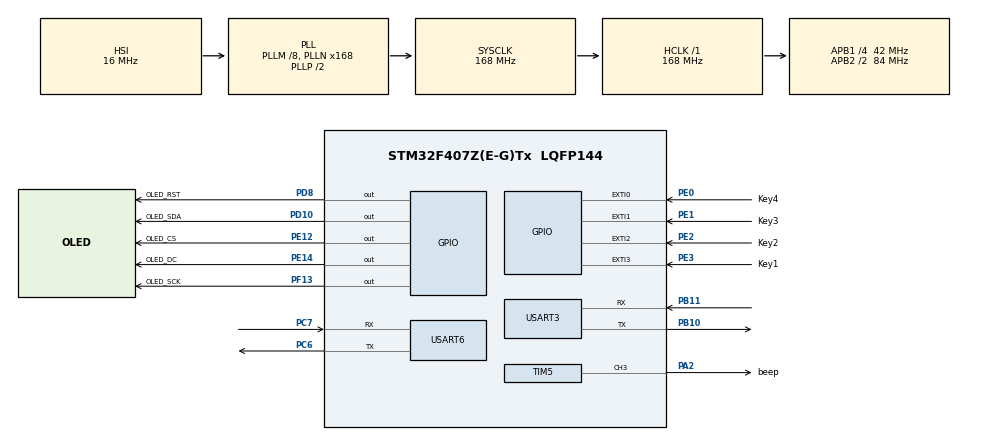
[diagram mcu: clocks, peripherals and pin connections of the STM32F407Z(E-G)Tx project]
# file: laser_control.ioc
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Mcu.Family=STM32F4
Mcu.Name=STM32F407Z(E-G)Tx
Mcu.Package=LQFP144
NVIC.EXTI0_IRQn=true\:5\:0\:true\:false\:true\:true\:true\:true
NVIC.EXTI1_IRQn=true\:5\:0\:true\:false\:true\:true\:true\:true
NVIC.EXTI2_IRQn=true\:5\:0\:true\:false\:true\:true\:true\:true
NVIC.EXTI3_IRQn=true\:5\:0\:true\:false\:true\:true\:true\:true
NVIC.PriorityGroup=NVIC_PRIORITYGROUP_4
NVIC.RCC_IRQn=true\:0\:0\:false\:false\:true\:true\:false\:true
NVIC.TIM1_UP_TIM10_IRQn=true\:0\:0\:true\:false\:true\:true\:true\:true
NVIC.USART3_IRQn=true\:0\:0\:false\:false\:true\:true\:true\:true
NVIC.USART6_IRQn=true\:0\:0\:true\:false\:true\:true\:true\:true
PA0-WKUP.Mode=SYS_WakeUp0
PA0-WKUP.Signal=SYS_WKUP
PA13.Mode=Serial_Wire
PA13.Signal=SYS_JTMS-SWDIO
PA14.Mode=Serial_Wire
PA14.Signal=SYS_JTCK-SWCLK
PA2.GPIO_Label=beep
PA2.Signal=S_TIM5_CH3
PB10.Mode=Asynchronous
PB10.Signal=USART3_TX
PB11.Mode=Asynchronous
PB11.Signal=USART3_RX
PC6.Mode=Asynchronous
PC6.Signal=USART6_TX
PC7.Mode=Asynchronous
PC7.Signal=USART6_RX
PD10.GPIO_Label=OLED_SDA
PD10.Signal=GPIO_Output
PD8.GPIO_Label=OLED_RST
PD8.Signal=GPIO_Output
PE0.GPIO_Label=Key4
PE0.Signal=GPXTI0
PE1.GPIO_Label=Key3
PE1.Signal=GPXTI1
PE12.GPIO_Label=OLED_CS
PE12.Signal=GPIO_Output
PE14.GPIO_Label=OLED_DC
PE14.Signal=GPIO_Output
PE2.GPIO_Label=Key2
PE2.Signal=GPXTI2
PE3.GPIO_Label=Key1
PE3.Signal=GPXTI3
PF13.GPIO_Label=OLED_SCK
PF13.Signal=GPIO_Output
PH0-OSC_IN.Mode=HSE-External-Oscillator
PH0-OSC_IN.Signal=RCC_OSC_IN
PH1-OSC_OUT.Mode=HSE-External-Oscillator
PH1-OSC_OUT.Signal=RCC_OSC_OUT
ProjectManager.HeapSize=0x200
ProjectManager.StackSize=0x400
ProjectManager.TargetToolchain=MDK-ARM V5.32
RCC.48MHZClocksFreq_Value=84000000
RCC.AHBFreq_Value=168000000
RCC.APB1CLKDivider=RCC_HCLK_DIV4
RCC.APB1Freq_Value=42000000
RCC.APB1TimFreq_Value=84000000
RCC.APB2CLKDivider=RCC_HCLK_DIV2
RCC.APB2Freq_Value=84000000
RCC.APB2TimFreq_Value=168000000
RCC.CortexFreq_Value=168000000
RCC.HCLKFreq_Value=168000000
RCC.HSE_VALUE=25000000
RCC.HSI_VALUE=16000000
RCC.LSE_VALUE=32768
RCC.PLLM=8
RCC.PLLN=168
RCC.SYSCLKFreq_VALUE=168000000
RCC.SYSCLKSource=RCC_SYSCLKSOURCE_PLLCLK
RCC.VCOOutputFreq_Value=336000000
SH.S_TIM5_CH3.0=TIM5_CH3,PWM Generation3 CH3
TIM1.AutoReloadPreload=TIM_AUTORELOAD_PRELOAD_ENABLE
TIM1.Period=999
TIM1.Prescaler=8399
TIM5.Channel-PWM\ Generation3\ CH3=TIM_CHANNEL_3
TIM5.Period=999
TIM5.Prescaler=83
USART3.VirtualMode=VM_ASYNC
USART6.VirtualMode=VM_ASYNC
VP_RTC_VS_RTC_Activate.Mode=RTC_Enabled
VP_RTC_VS_RTC_Calendar.Mode=RTC_Calendar
VP_TIM1_VS_ClockSourceINT.Mode=Internal
VP_TIM5_VS_ClockSourceINT.Mode=Internal
board=custom

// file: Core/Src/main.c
/* USER CODE BEGIN Header */
/**
  ******************************************************************************
  * @file           : main.c
  * @brief          : Main program body
  ******************************************************************************
  * @attention
  *
  * Copyright (c) 2025 STMicroelectronics.
  * All rights reserved.
  *
  * This software is licensed under terms that can be found in the LICENSE file
  * in the root directory of this software component.
  * If no LICENSE file comes with this software, it is provided AS-IS.
  *
  ******************************************************************************
  */
/* USER CODE END Header */
#include "main.h"
#include "rtc.h"
#include "tim.h"
#include "usart.h"
#include "gpio.h"

/* USER CODE BEGIN Includes */
#include "OLED.h"
#include "servo_protocol.h"
#include "laser_tracker.h"
#include <stdio.h>
#include <stdlib.h>
#include "string.h"
/* USER CODE END Includes */

/* USER CODE BEGIN PTD */
char current_coord[BUF_SIZE]= {"xiangwan stupid donkey"};
int x1, y1, x2, y2, x3, y3, x4, y4, a, b, c, d;
/* USER CODE END PTD */

/* USER CODE BEGIN PM */
void parseCoordinates(const char *str, int *x1, int *y1, int *x2, int *y2,
                      int *x3, int *y3, int *x4, int *y4, int *a, int *b, int *c, int *d) {
    const char *ptr = str;

    // 解析前四个顶点坐标（x1,y1;x2,y2;x3,y3;x4,y4）
    sscanf(ptr, "%d,%d;", x1, y1);
    ptr = strchr(ptr, ';') + 1;

    sscanf(ptr, "%d,%d;", x2, y2);
    ptr = strchr(ptr, ';') + 1;

    sscanf(ptr, "%d,%d;", x3, y3);
    ptr = strchr(ptr, ';') + 1;

    sscanf(ptr, "%d,%d;", x4, y4);
    ptr = strchr(ptr, ';') + 1;

    // 解析激光红点（a,b）和绿点坐标（c,d）
    sscanf(ptr, "%d,%d;", a, b);
    ptr = strchr(ptr, ';') + 1;

    sscanf(ptr, "%d,%d", c, d);
}
/* USER CODE END PM */

/* USER CODE BEGIN PV */
int test1 = 6;
uint32_t last_key_time = 0;
uint32_t beeptime = 0;
int circle1 = 0 ;
int circle2 = 0 ;
int circle3 = 0 ;
//按键控制
void HAL_GPIO_EXTI_Callback(uint16_t GPIO_Pin) {
    if (HAL_GetTick() - last_key_time > 10) { // 200ms防抖
        last_key_time = HAL_GetTick();

        if (GPIO_Pin == Key1_Pin) {
					//回到中心点
            Servo_SetPosition(1, 3050, 500);Servo_SetPosition(2, 3350, 500);
        }
				else if (GPIO_Pin == Key2_Pin) {
            circle2 = 0 ;
        }
				else if (GPIO_Pin == Key3_Pin) {
            circle2 = 1 ;
				}
				else if(GPIO_Pin==Key4_Pin){
					  circle3 = 1 ;
				}

    }
}
/* USER CODE END PV */

void SystemClock_Config(void);
/* USER CODE BEGIN PFP */

void HAL_TIM_PeriodElapsedCallback(TIM_HandleTypeDef *htim) {
  if (htim->Instance == TIM1) {

				// 4. 显示更新
        OLED_Clear();
				OLED_ShowString(4, 10, "dj1:", OLED_6X8);
	      OLED_ShowString(1,32,"Pos:",OLED_6X8);
				OLED_ShowString(30,32,current_coord,OLED_6X8);
			  OLED_ShowNum(30, 10, a, 3 , OLED_6X8);
		    OLED_ShowNum(60, 10, b, 3 , OLED_6X8);

        OLED_ShowString(4, 50, "any:", OLED_6X8);
        OLED_ShowSignedNum(40, 50, c, 4, OLED_6X8);
        OLED_ShowString(72, 50, ",", OLED_6X8);
        OLED_ShowSignedNum(78, 50, d, 4, OLED_6X8);
        OLED_Update();

	}
}

/* USER CODE END PFP */

int main(void)
{

  /* USER CODE BEGIN 1 */
    a = 0;
	  b = 0;
	  c = 0;
	  d = 0;
  /* USER CODE END 1 */

  /* MCU Configuration--------------------------------------------------------*/

  /* Reset of all peripherals, Initializes the Flash interface and the Systick. */
  HAL_Init();

  /* Configure the system clock */
  SystemClock_Config();

  /* Initialize all configured peripherals */
  MX_GPIO_Init();
  MX_USART6_UART_Init();
  MX_USART3_UART_Init();
  MX_TIM1_Init();
  MX_RTC_Init();
  MX_TIM5_Init();
  /* USER CODE BEGIN 2 */
	HAL_TIM_Base_Start_IT(&htim1);
	HAL_TIM_PWM_Start(&htim5,TIM_CHANNEL_3);

	OLED_Init();

	Servo_Init(&huart6);

	// 标记是否为首次初始化
  uint8_t first_init = 1;

    LaserTracker tracker = {0};
//    // 在main()初始化部分添加默认顶点（测试用）
//    Point default_vertices[4] = {{200, 200}, {400, 200}, {400, 300}, {200, 300}};
//    init_tracker(&tracker, default_vertices);
//    generate_path(&tracker, 20); // 强制生成路径，用于测试
//		test1 = tracker.current_target;

  /* USER CODE END 2 */

  /* Infinite loop */
  /* USER CODE BEGIN WHILE */
  while (1)
  {
//		if(circle1){
//		Servo_SetPosition(0x01, 2900, 300);Servo_SetPosition(0x02, 3220, 300);
//		HAL_Delay(1200);
//		Servo_SetPosition(0x01, 3200, 300);Servo_SetPosition(0x02, 3230, 300);
//		HAL_Delay(1200);
//    Servo_SetPosition(0x01, 3200, 300);Servo_SetPosition(0x02, 3500, 300);
//		HAL_Delay(1200);
//		Servo_SetPosition(0x01, 2890, 300);Servo_SetPosition(0x02, 3500, 300);
//		HAL_Delay(1200);
//		Servo_SetPosition(0x01, 2900, 300);Servo_SetPosition(0x02, 3230, 300);
//
//			circle1 = 0 ;
//    }

    /* USER CODE END WHILE */

    /* USER CODE BEGIN 3 */

    // 1. 更新坐标数据
        if (coord_updated) {
            strncpy(current_coord, coord, BUF_SIZE);
            coord_updated = 0;

            // 解析新坐标
            parseCoordinates(current_coord, &x1, &y1, &x2, &y2, &x3, &y3, &x4, &y4, &a, &b, &c, &d);

            // 仅在首次初始化时生成路径

      }

		// 2. 更新激光位置
        Point cam_pos = {a, b};
        update_laser_position(&tracker, cam_pos);
		// 3. 执行追踪控制
        if (circle2) {
					if(first_init) {
            Point vertices[4] = {{x1,y1}, {x2,y2}, {x3,y3}, {x4,y4}};
						init_tracker(&tracker, vertices);
            generate_path(&tracker, 25);
            tracker.current_target = 0;
            first_init = 0; // 清除首次初始化标记
        }
            control_laser(&tracker);
				    HAL_Delay(9);
				if(circle3){
				    control_green_light(a,b,c,d);
         }

        }

	}
  /* USER CODE END 3 */
}

void SystemClock_Config(void)
{
  RCC_OscInitTypeDef RCC_OscInitStruct = {0};
  RCC_ClkInitTypeDef RCC_ClkInitStruct = {0};

  /** Configure the main internal regulator output voltage
  */
  __HAL_RCC_PWR_CLK_ENABLE();
  __HAL_PWR_VOLTAGESCALING_CONFIG(PWR_REGULATOR_VOLTAGE_SCALE1);

  /** Initializes the RCC Oscillators according to the specified parameters
  * in the RCC_OscInitTypeDef structure.
  */
  RCC_OscInitStruct.OscillatorType = RCC_OSCILLATORTYPE_HSI|RCC_OSCILLATORTYPE_LSI;
  RCC_OscInitStruct.HSIState = RCC_HSI_ON;
  RCC_OscInitStruct.HSICalibrationValue = RCC_HSICALIBRATION_DEFAULT;
  RCC_OscInitStruct.LSIState = RCC_LSI_ON;
  RCC_OscInitStruct.PLL.PLLState = RCC_PLL_ON;
  RCC_OscInitStruct.PLL.PLLSource = RCC_PLLSOURCE_HSI;
  RCC_OscInitStruct.PLL.PLLM = 8;
  RCC_OscInitStruct.PLL.PLLN = 168;
  RCC_OscInitStruct.PLL.PLLP = RCC_PLLP_DIV2;
  RCC_OscInitStruct.PLL.PLLQ = 4;
  if (HAL_RCC_OscConfig(&RCC_OscInitStruct) != HAL_OK)
  {
    Error_Handler();
  }

  /** Initializes the CPU, AHB and APB buses clocks
  */
  RCC_ClkInitStruct.ClockType = RCC_CLOCKTYPE_HCLK|RCC_CLOCKTYPE_SYSCLK
                              |RCC_CLOCKTYPE_PCLK1|RCC_CLOCKTYPE_PCLK2;
  RCC_ClkInitStruct.SYSCLKSource = RCC_SYSCLKSOURCE_PLLCLK;
  RCC_ClkInitStruct.AHBCLKDivider = RCC_SYSCLK_DIV1;
  RCC_ClkInitStruct.APB1CLKDivider = RCC_HCLK_DIV4;
  RCC_ClkInitStruct.APB2CLKDivider = RCC_HCLK_DIV2;

  if (HAL_RCC_ClockConfig(&RCC_ClkInitStruct, FLASH_LATENCY_5) != HAL_OK)
  {
    Error_Handler();
  }
}

void Error_Handler(void)
{
  __disable_irq();
  while (1)
  {
  }
}
